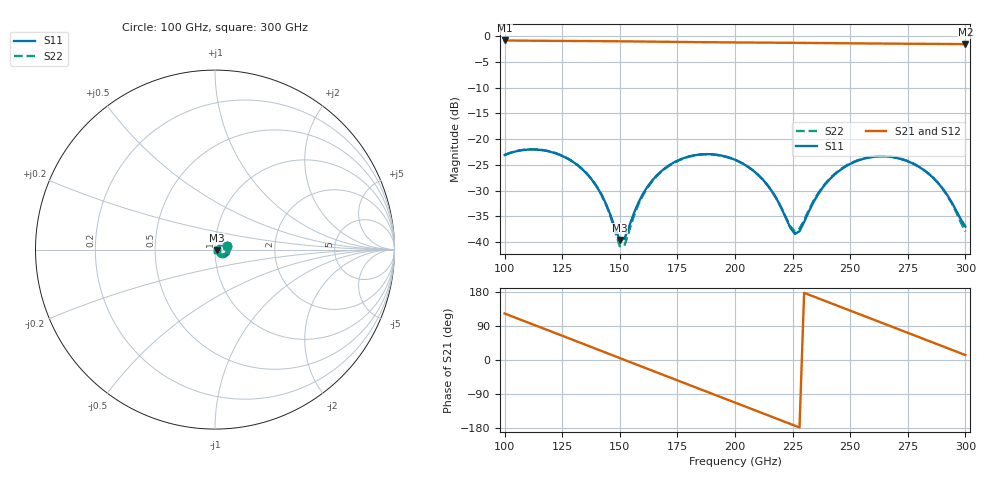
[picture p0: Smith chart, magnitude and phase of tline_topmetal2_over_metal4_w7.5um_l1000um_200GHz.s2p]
#  GHZ S DB R 50
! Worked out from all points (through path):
!   101 points, 100 GHz to 300 GHz, reference 50 ohm
!   highest |S21| = -0.87 dB at 100 GHz (marker M1); lowest = -1.6 dB at 300 GHz (marker M2)
!   group delay of S21, straight-line fit = 6.52 ps
!   lowest |S11| = -39.6 dB at 150 GHz (marker M3), VSWR 1.02, Z = 51 - j0.382 ohm
!   |S11| at or under -10 dB: start of sweep to end of sweep
!   |S22| runs from -40.8 to -22.0 dB; largest |S21 - S12| = 1.5e-13
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100  -23.09 15.9  -0.87 122.7  -0.87 122.7  -23.05 15.2
116  -22.12 -16.1  -0.94 85.1  -0.94 85.1  -22.08 -17.1
124  -23.06 -31.9  -0.96 66.4  -0.96 66.4  -23.02 -33.2
134  -25.96 -50.0  -0.99 42.9  -0.99 42.9  -25.92 -51.9
142  -30.73 -58.5  -1.01 24.0  -1.01 24.0  -30.74 -61.9
150  -39.57 -20.9  -1.04 5.1  -1.04 5.1  -40.76 -26.1
152  -39.32 8.7  -1.05 0.4  -1.05 0.4  -40.69 9.3
160  -30.65 41.4  -1.08 -18.5  -1.08 -18.5  -30.90 43.7
168  -26.22 32.5  -1.12 -37.3  -1.12 -37.3  -26.32 33.8
184  -23.02 3.2  -1.20 -74.8  -1.20 -74.8  -23.05 3.7
200  -24.00 -27.3  -1.26 -112.3  -1.26 -112.3  -24.02 -27.0
214  -28.86 -47.9  -1.30 -145.1  -1.30 -145.1  -28.87 -47.3
226  -38.38 -8.6  -1.34 -173.3  -1.34 -173.3  -37.96 -7.4
228  -37.86 13.4  -1.34 -178.0  -1.34 -178.0  -37.40 13.3
234  -32.28 40.7  -1.36 167.9  -1.36 167.9  -32.06 39.2
248  -25.30 27.9  -1.42 135.0  -1.42 135.0  -25.22 26.5
258  -23.59 9.7  -1.46 111.5  -1.46 111.5  -23.53 8.3
268  -23.48 -9.3  -1.49 88.1  -1.49 88.1  -23.43 -10.9
276  -24.49 -23.9  -1.51 69.4  -1.51 69.4  -24.45 -25.9
286  -27.50 -39.1  -1.54 45.9  -1.54 45.9  -27.49 -41.9
292  -30.76 -42.7  -1.56 31.8  -1.56 31.8  -30.84 -46.6
300  -36.98 -15.4  -1.58 13.0  -1.58 13.0  -37.93 -20.1
